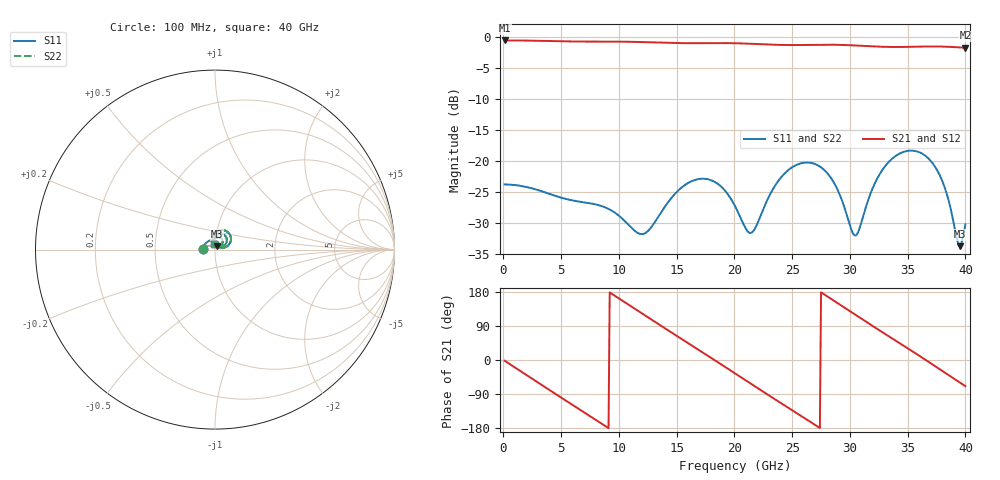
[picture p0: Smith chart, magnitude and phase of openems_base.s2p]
! thru_s8_L3: 2×thru, L3, 8 mm
! stackup: 8-layer 1.6 mm FR-4 (generic)
! ports: 1, 2
! openEMS 0.37.0, staircase, base mesh (dfine 0.035 mm), 413725 cells
# Hz S RI R 50
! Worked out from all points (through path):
!   400 points, 100 MHz to 40 GHz, reference 50 ohm
!   highest |S21| = -0.58 dB at 100 MHz (marker M1); lowest = -1.8 dB at 40 GHz (marker M2)
!   group delay of S21, straight-line fit = 54.7 ps
!   lowest |S11| = -33.8 dB at 39.5 GHz (marker M3), VSWR 1.04, Z = 51.1 + j1.77 ohm
!   |S11| at or under -10 dB: start of sweep to end of sweep
!   |S22| runs from -33.8 to -18.4 dB; largest |S21 - S12| = 0
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1e8  -0.0644 0.00239  0.9349 -0.0325  0.9349 -0.0325  -0.0644 0.00239
1.7e9  -0.0509 0.0358  0.7751 -0.5209  0.7751 -0.5209  -0.0509 0.0358
3.6e9  -0.0212 0.0514  0.2914 -0.8802  0.2914 -0.8802  -0.0212 0.0514
5.2e9  -0.0036 0.0497  -0.21 -0.8959  -0.21 -0.8959  -0.0036 0.0497
6.8e9  0.00689 0.046  -0.6423 -0.6534  -0.6423 -0.6534  0.00689 0.046
8.4e9  0.0149 0.0408  -0.8886 -0.2226  -0.8886 -0.2226  0.0149 0.0408
9.9e9  0.0177 0.0321  -0.8816 0.2471  -0.8816 0.2471  0.0177 0.0321
1.19e10  0.00622 0.0249  -0.5156 0.7476  -0.5156 0.7476  0.00622 0.0249
1.34e10  -0.00537 0.0348  -0.0791 0.8952  -0.0791 0.8952  -0.00537 0.0348
1.51e10  -0.0022 0.0571  0.4187 0.7857  0.4187 0.7857  -0.0022 0.0571
1.71e10  0.0264 0.0666  0.8184 0.3476  0.8184 0.3476  0.0264 0.0666
2.01e10  0.0332 0.0261  0.7138 -0.5285  0.7138 -0.5285  0.0332 0.0261
2.15e10  0.00791 0.0251  0.3803 -0.7925  0.3803 -0.7925  0.00791 0.0251
2.32e10  -0.00798 0.0555  -0.1151 -0.8578  -0.1151 -0.8578  -0.00798 0.0555
2.67e10  0.0562 0.0778  -0.8345 -0.2152  -0.8345 -0.2152  0.0562 0.0778
2.85e10  0.0606 0.034  -0.8044 0.3156  -0.8044 0.3156  0.0606 0.034
3.05e10  0.0107 0.0226  -0.4064 0.7487  -0.4064 0.7487  0.0107 0.0226
3.34e10  0.00789 0.0983  0.3886 0.7325  0.3886 0.7325  0.00789 0.0983
3.65e10  0.0886 0.0658  0.8358 0.0211  0.8358 0.0211  0.0886 0.0658
3.81e10  0.0631 0.0158  0.7159 -0.4287  0.7159 -0.4287  0.0631 0.0158
3.95e10  0.0109 0.0173  0.4221 -0.7055  0.4221 -0.7055  0.0109 0.0173
4e10  -0.00386 0.0304  0.2922 -0.7623  0.2922 -0.7623  -0.00386 0.0304
